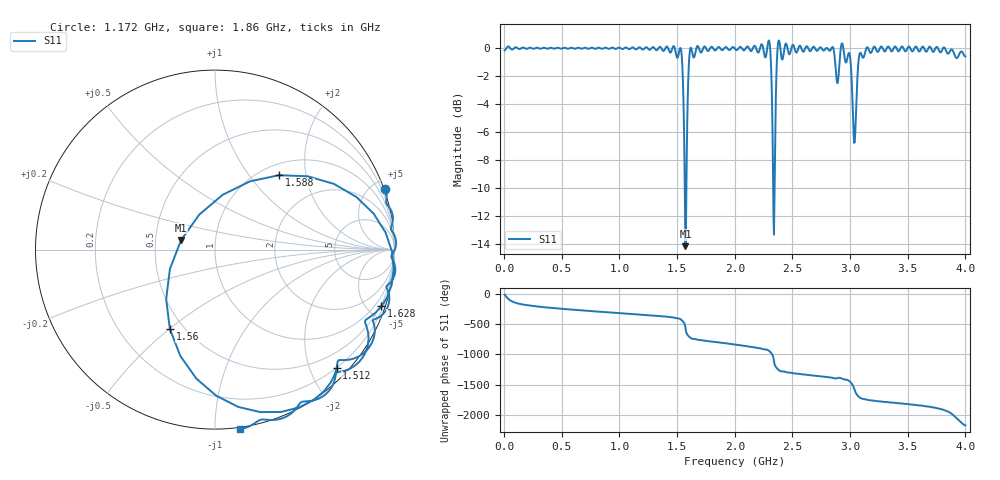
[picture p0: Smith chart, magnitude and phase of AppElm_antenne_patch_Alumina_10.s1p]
! TOUCHSTONE file generated by CST MICROWAVE STUDIO
! Date and time: Thu Jun  9 15:16:46 2022
! Project name: AppElm_antenne_patch_Alumina.cst
! Parameters = {L=30.5; W=41.8; e=0.035; h=1.6; lambda=0.190476; ls=90; w0=1.12; w1=0.373; ws=90; y0=14; y1=12}
! Header version: 2018
! Port assignment regex: !\s*Touchstone port\s*([0-9]+)\s*=\s*(CST MWS port|CST DS port)\s*([0-9]+|Zmin|Zmax)\s*\(\"(.*)\"\)(\s*mode\s*([0-9]+))?.*
! Touchstone port assignment:
! Touchstone port 1 = CST MWS port 1 ("")
# GHz S MA R 50
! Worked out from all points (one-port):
!   1000 points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, 4 MHz to 4 GHz, reference 50 ohm
!   lowest |S11| = -14.2 dB at 1.572 GHz (marker M1), VSWR 1.49, Z = 34 + j3.77 ohm
!   |S11| at or under -10 dB: 1.566 GHz to 1.58 GHz (13.96 MHz wide, 0.888 % of centre); 2.333 GHz to 2.345 GHz (11.78 MHz wide, 0.504 % of centre)
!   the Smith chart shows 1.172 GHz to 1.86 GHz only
!   S11 on the Smith chart (normalised r, x): 1.172 GHz: -0.12, +5.79; 1.512 GHz: 0.20, -2.45; 1.56 GHz: 0.42, -0.50; 1.588 GHz: 1.20, +1.42; 1.628 GHz: 0.38, -6.01; 1.86 GHz: -0.01, -1.15
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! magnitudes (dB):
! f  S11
! 4 MHz  -0.2
! 504 MHz  0.0
! 1.004 GHz  0.0
! 1.172 GHz  0.1
! 1.504 GHz  -0.7
! 1.512 GHz  -0.5
! 1.54 GHz  -0.5
! 1.56 GHz  -5.9
! 1.572 GHz  -14.2
! 1.588 GHz  -5.2
! 1.608 GHz  -0.4
! 1.628 GHz  -0.2
! 1.86 GHz  0.1
! 2.004 GHz  -0.1
! 2.292 GHz  0.5
! 2.308 GHz  -0.2
! 2.328 GHz  -6.3
! 2.34 GHz  -13.3
! 2.38 GHz  0.5
! 2.504 GHz  0.2
! 2.84 GHz  0.0
! 2.888 GHz  -2.5
! 2.932 GHz  0.3
! 3.004 GHz  -0.9
! 3.04 GHz  -6.7
! 3.092 GHz  -0.3
! 3.504 GHz  0.1
! 4 GHz  -0.6
